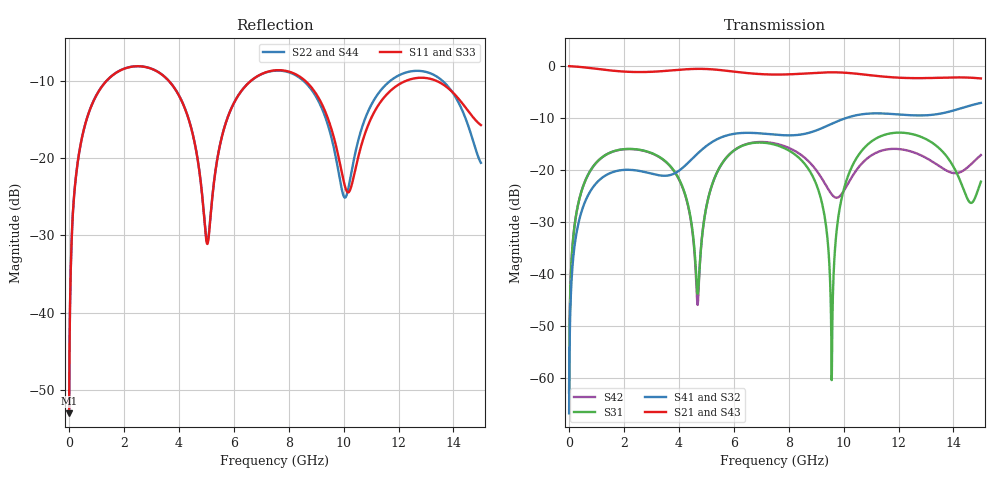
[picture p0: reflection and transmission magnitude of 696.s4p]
! Created with skrf 1.8.0 (http://scikit-rf.org).
# GHz S RI R 50.0
!freq ReS11 ImS11 ReS12 ImS12 ReS13 ImS13
! ReS14 ImS14
! ReS21 ImS21 ReS22 ImS22 ReS23 ImS23
! ReS24 ImS24
! ReS31 ImS31 ReS32 ImS32 ReS33 ImS33
! ReS34 ImS34
! ReS41 ImS41 ReS42 ImS42 ReS43 ImS43
! ReS44 ImS44
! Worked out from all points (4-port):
!   2499 points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, 5 MHz to 15 GHz, reference 50 ohm
!   strongest paths, dB at 5 MHz, 3.476 GHz, 7.19 GHz, 11.1 GHz, 15 GHz:
!     S21: 0.0, -0.9, -1.6, -1.8, -2.4
!     S43: 0.0, -0.9, -1.6, -1.8, -2.4
!     S41: -66.8, -21.1, -13.0, -9.1, -7.1
!     S32: -66.8, -21.2, -13.1, -9.1, -7.1
!     S31: -62.8, -18.2, -14.8, -14.2, -22.2
!     S42: -62.8, -18.2, -14.6, -16.9, -17.1
!   lowest |S11| = -53.0 dB at 5 MHz (marker M1), VSWR 1.00, Z = 50.2 + j0.135 ohm
!   |S11| at or under -10 dB: 3.624 GHz to 6.637 GHz (3.013 GHz wide, 58.7 % of centre); 8.593 GHz to 12.3 GHz (3.703 GHz wide, 35.5 % of centre); 13.36 GHz to end of sweep (the widest 3 of 4)
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0.005  0.00178 0.00135  0.9982 -0.00346  9.02e-05 0.000717  -8.75e-05 -0.000448
       0.9982 -0.00346  0.00178 0.00135  -8.75e-05 -0.000448  9.02e-05 0.000717
       9.02e-05 0.000717  -8.75e-05 -0.000448  0.00178 0.00135  0.9982 -0.00346
       -8.75e-05 -0.000448  9.02e-05 0.000717  0.9982 -0.00346  0.00178 0.00135
1.519383  0.2883 0.1695  0.5075 -0.7522  0.1369 0.0562  -0.0939 0.00101
          0.5075 -0.7522  0.2886 0.1693  -0.0938 0.00085  0.1361 0.0572
          0.1369 0.0562  -0.0938 0.00085  0.2883 0.1695  0.5076 -0.7521
          -0.0939 0.00101  0.1361 0.0572  0.5076 -0.7521  0.2885 0.1693
4.689454  0.0456 -0.0854  -0.8977 -0.2809  -0.00647 -7.03e-05  -0.038 0.1395
          -0.8977 -0.2809  0.0458 -0.0857  -0.0399 0.1389  -0.00508 0.000473
          -0.00647 -7.03e-05  -0.0399 0.1389  0.0457 -0.085  -0.8977 -0.2809
          -0.038 0.1395  -0.00508 0.000473  -0.8977 -0.2809  0.0455 -0.0854
7.70321  0.3688 -0.0129  -0.0541 0.8274  0.1529 -0.0702  0.2094 -0.0566
         -0.0541 0.8274  0.3659 -0.0188  0.2086 -0.0515  0.1517 -0.0865
         0.1529 -0.0702  0.2086 -0.0515  0.3708 -0.0165  -0.0544 0.827
         0.2094 -0.0566  0.1517 -0.0865  -0.0544 0.827  0.366 -0.0148
9.566486  0.1007 -0.1138  0.7597 0.4268  0.000895 -0.000324  0.1256 -0.2484
          0.7597 0.4268  0.0884 -0.0999  0.1336 -0.2441  -0.0517 -0.0273
          0.000895 -0.000324  0.1336 -0.2441  0.0969 -0.1195  0.7586 0.428
          0.1256 -0.2484  -0.0517 -0.0273  0.7586 0.428  0.0959 -0.0993
10.9233  0.1264 0.1101  0.7677 -0.2859  0.1607 0.0819  -0.1604 -0.3102
         0.7677 -0.2859  0.1515 0.1387  -0.1508 -0.3147  0.0794 0.107
         0.1607 0.0819  -0.1508 -0.3147  0.1202 0.1089  0.7693 -0.2841
         -0.1604 -0.3102  0.0794 0.107  0.7693 -0.2841  0.1542 0.1307
15  0.1567 -0.0453  -0.7132 -0.2644  -0.00794 0.0769  -0.1411 0.4194
    -0.7132 -0.2644  0.0905 -0.0215  -0.1581 0.4137  -0.0962 0.1008
    -0.00794 0.0769  -0.1581 0.4137  0.1549 -0.0379  -0.7139 -0.2642
    -0.1411 0.4194  -0.0962 0.1008  -0.7139 -0.2642  0.0896 -0.0193
